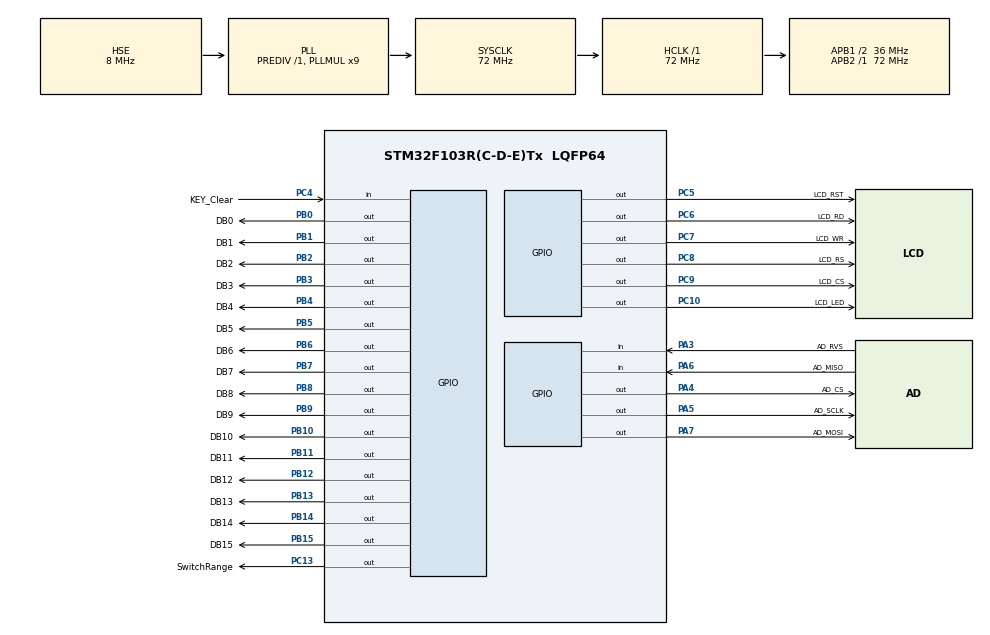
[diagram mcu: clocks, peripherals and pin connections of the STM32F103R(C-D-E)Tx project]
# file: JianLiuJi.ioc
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IWDG.Prescaler=IWDG_PRESCALER_256
Mcu.Family=STM32F1
Mcu.Name=STM32F103R(C-D-E)Tx
Mcu.Package=LQFP64
NVIC.PriorityGroup=NVIC_PRIORITYGROUP_4
PA13.Mode=Serial_Wire
PA13.Signal=SYS_JTMS-SWDIO
PA14.Mode=Serial_Wire
PA14.Signal=SYS_JTCK-SWCLK
PA3.GPIO_Label=AD_RVS
PA3.Signal=GPIO_Input
PA4.GPIO_Label=AD_CS
PA4.Signal=GPIO_Output
PA5.GPIO_Label=AD_SCLK
PA5.Signal=GPIO_Output
PA6.GPIO_Label=AD_MISO
PA6.Signal=GPIO_Input
PA7.GPIO_Label=AD_MOSI
PA7.Signal=GPIO_Output
PB0.GPIO_Label=DB0
PB0.GPIO_Speed=GPIO_SPEED_FREQ_HIGH
PB0.Signal=GPIO_Output
PB1.GPIO_Label=DB1
PB1.GPIO_PuPd=GPIO_NOPULL
PB1.GPIO_Speed=GPIO_SPEED_FREQ_HIGH
PB1.Signal=GPIO_Output
PB10.GPIO_Label=DB10
PB10.GPIO_Speed=GPIO_SPEED_FREQ_HIGH
PB10.Signal=GPIO_Output
PB11.GPIO_Label=DB11
PB11.GPIO_Speed=GPIO_SPEED_FREQ_HIGH
PB11.Signal=GPIO_Output
PB12.GPIO_Label=DB12
PB12.GPIO_Speed=GPIO_SPEED_FREQ_HIGH
PB12.Signal=GPIO_Output
PB13.GPIO_Label=DB13
PB13.GPIO_Speed=GPIO_SPEED_FREQ_HIGH
PB13.Signal=GPIO_Output
PB14.GPIO_Label=DB14
PB14.GPIO_Speed=GPIO_SPEED_FREQ_HIGH
PB14.Signal=GPIO_Output
PB15.GPIO_Label=DB15
PB15.GPIO_Speed=GPIO_SPEED_FREQ_HIGH
PB15.Signal=GPIO_Output
PB2.GPIO_Label=DB2
PB2.GPIO_Speed=GPIO_SPEED_FREQ_HIGH
PB2.Signal=GPIO_Output
PB3.GPIO_Label=DB3
PB3.GPIO_Speed=GPIO_SPEED_FREQ_HIGH
PB3.Signal=GPIO_Output
PB4.GPIO_Label=DB4
PB4.GPIO_Speed=GPIO_SPEED_FREQ_HIGH
PB4.Signal=GPIO_Output
PB5.GPIO_Label=DB5
PB5.GPIO_Speed=GPIO_SPEED_FREQ_HIGH
PB5.Signal=GPIO_Output
PB6.GPIO_Label=DB6
PB6.GPIO_Speed=GPIO_SPEED_FREQ_HIGH
PB6.Signal=GPIO_Output
PB7.GPIO_Label=DB7
PB7.GPIO_Speed=GPIO_SPEED_FREQ_HIGH
PB7.Signal=GPIO_Output
PB8.GPIO_Label=DB8
PB8.GPIO_Speed=GPIO_SPEED_FREQ_HIGH
PB8.Signal=GPIO_Output
PB9.GPIO_Label=DB9
PB9.GPIO_Speed=GPIO_SPEED_FREQ_HIGH
PB9.Signal=GPIO_Output
PC10.GPIO_Label=LCD_LED
PC10.GPIO_Speed=GPIO_SPEED_FREQ_LOW
PC10.Signal=GPIO_Output
PC13-TAMPER-RTC.GPIO_Label=SwitchRange
PC13-TAMPER-RTC.Signal=GPIO_Output
PC4.GPIO_Label=KEY_Clear
PC4.Signal=GPIO_Input
PC5.GPIO_Label=LCD_RST
PC5.GPIO_Speed=GPIO_SPEED_FREQ_LOW
PC5.PinState=GPIO_PIN_RESET
PC5.Signal=GPIO_Output
PC6.GPIO_Label=LCD_RD
PC6.GPIO_Speed=GPIO_SPEED_FREQ_HIGH
PC6.Signal=GPIO_Output
PC7.GPIO_Label=LCD_WR
PC7.GPIO_Speed=GPIO_SPEED_FREQ_HIGH
PC7.Signal=GPIO_Output
PC8.GPIO_Label=LCD_RS
PC8.GPIO_Speed=GPIO_SPEED_FREQ_HIGH
PC8.Signal=GPIO_Output
PC9.GPIO_Label=LCD_CS
PC9.GPIO_Speed=GPIO_SPEED_FREQ_HIGH
PC9.Signal=GPIO_Output
PD0-OSC_IN.Mode=HSE-External-Oscillator
PD0-OSC_IN.Signal=RCC_OSC_IN
PD1-OSC_OUT.Mode=HSE-External-Oscillator
PD1-OSC_OUT.Signal=RCC_OSC_OUT
ProjectManager.HeapSize=0x200
ProjectManager.StackSize=0x400
ProjectManager.TargetToolchain=Other Toolchains (GPDSC)
RCC.AHBFreq_Value=72000000
RCC.APB1CLKDivider=RCC_HCLK_DIV2
RCC.APB1Freq_Value=36000000
RCC.APB1TimFreq_Value=72000000
RCC.APB2Freq_Value=72000000
RCC.APB2TimFreq_Value=72000000
RCC.HCLKFreq_Value=72000000
RCC.PLLMUL=RCC_PLL_MUL9
RCC.PLLSourceVirtual=RCC_PLLSOURCE_HSE
RCC.SYSCLKFreq_VALUE=72000000
RCC.SYSCLKSource=RCC_SYSCLKSOURCE_PLLCLK
RCC.USBFreq_Value=72000000
VP_IWDG_VS_IWDG.Mode=IWDG_Activate
board=custom

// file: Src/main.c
/**
  ******************************************************************************
  * @file           : main.c
  * @brief          : Main program body
  ******************************************************************************
  ** This notice applies to any and all portions of this file
  * that are not between comment pairs USER CODE BEGIN and
  * USER CODE END. Other portions of this file, whether
  * inserted by the user or by software development tools
  * are owned by their respective copyright owners.
  *
  * COPYRIGHT(c) 2018 STMicroelectronics
  *
  * Redistribution and use in source and binary forms, with or without modification,
  * are permitted provided that the following conditions are met:
  *   1. Redistributions of source code must retain the above copyright notice,
  *      this list of conditions and the following disclaimer.
  *   2. Redistributions in binary form must reproduce the above copyright notice,
  *      this list of conditions and the following disclaimer in the documentation
  *      and/or other materials provided with the distribution.
  *   3. Neither the name of STMicroelectronics nor the names of its contributors
  *      may be used to endorse or promote products derived from this software
  *      without specific prior written permission.
  *
  * THIS SOFTWARE IS PROVIDED BY THE COPYRIGHT HOLDERS AND CONTRIBUTORS "AS IS"
  * AND ANY EXPRESS OR IMPLIED WARRANTIES, INCLUDING, BUT NOT LIMITED TO, THE
  * IMPLIED WARRANTIES OF MERCHANTABILITY AND FITNESS FOR A PARTICULAR PURPOSE ARE
  * DISCLAIMED. IN NO EVENT SHALL THE COPYRIGHT HOLDER OR CONTRIBUTORS BE LIABLE
  * FOR ANY DIRECT, INDIRECT, INCIDENTAL, SPECIAL, EXEMPLARY, OR CONSEQUENTIAL
  * DAMAGES (INCLUDING, BUT NOT LIMITED TO, PROCUREMENT OF SUBSTITUTE GOODS OR
  * SERVICES; LOSS OF USE, DATA, OR PROFITS; OR BUSINESS INTERRUPTION) HOWEVER
  * CAUSED AND ON ANY THEORY OF LIABILITY, WHETHER IN CONTRACT, STRICT LIABILITY,
  * OR TORT (INCLUDING NEGLIGENCE OR OTHERWISE) ARISING IN ANY WAY OUT OF THE USE
  * OF THIS SOFTWARE, EVEN IF ADVISED OF THE POSSIBILITY OF SUCH DAMAGE.
  *
  ******************************************************************************
  */
#include "main.h"
#include "stm32f1xx_hal.h"
#include "iwdg.h"
#include "gpio.h"

/* USER CODE BEGIN Includes */
#include "wfSys.h"
#include "..\wf\lcd.h"
#include "..\wf\GUI.h"
#include "..\wf\Variables.h"
#include "ADS8689.h"
#include "..\wf\ADS8689_Conf.h"
#include "wfDefine.h"
#include <math.h>
#include "wfEEPROM.h"
#include "iwdg.h"
/* USER CODE END Includes */

/* USER CODE BEGIN PV */
/* Private variables ---------------------------------------------------------*/

/* USER CODE END PV */

void SystemClock_Config(void);

/* USER CODE BEGIN PFP */
/* Private function prototypes -----------------------------------------------*/

/* USER CODE END PFP */

/* USER CODE BEGIN 0 */
uint32_t bShowNum;
uint32_t adListIndex;
uint32_t adList[1000];
/* USER CODE END 0 */

int main(void)
{
  /* USER CODE BEGIN 1 */
	uint32_t i;
	uint8_t h,m,l,ll;
	uint32_t x,ad;
	float V,I,absX;
  /* USER CODE END 1 */

  /* MCU Configuration----------------------------------------------------------*/

  /* Reset of all peripherals, Initializes the Flash interface and the Systick. */
  HAL_Init();

  /* Configure the system clock */
  SystemClock_Config();

  /* Initialize all configured peripherals */
  MX_GPIO_Init();
  MX_IWDG_Init();
  /* USER CODE BEGIN 2 */
  wfDelay_init(72);
  LCD_Init();
  ADS8689_CS_High();
  ADS8689_Setting(0x10,0x0100);//0.625*4.096
  ADS8689_Setting(0x14,0x0004);//0.625*4.096
  //LCD_SetWindows(0,0,lcddev.width-1,lcddev.height-1);
  Gui_Drawbmp16(0, 0,480,320,gImage_pic);
  bShowNum=0;
  oldI=0xffff;
  adListIndex=0;
  wfEEPROM_ReadWords(0,SystemParam.all,SystemParamLen);
  if(SystemParam.sum!=0)
  {
	  SystemParam.V0=0;
  }
//   Gui_Drawbmp16(192,179,134,34,gImage_TextBox);
//   Gui_Drawbmp16(198,184,16,24,NumPList[0]);
//   Gui_Drawbmp16(198+16,184,16,24,NumList[1]);
//   Gui_Drawbmp16(198+32,184,16,24,NumList[2]);
//   Gui_Drawbmp16(198+48,184,16,24,NumList[3]);
//   Gui_Drawbmp16(198+64,184,16,24,NumList[4]);
  /* USER CODE END 2 */

  /* Infinite loop */
  /* USER CODE BEGIN WHILE */
  while (1)
  {
	  HAL_IWDG_Refresh(&hiwdg);
	  ad=0;
	  for(i=0;i<2048;i++)//250ms
	  {
		  //HAL_Delay(10);
		  while(1)
		  {
			  if(ADS8689_RVS_Read()==1)//rvs拉高后继续
				  break;
		  }
		  ADS8689_CS_Low();
		  while(1)
		  {
			  if(ADS8689_RVS_Read()==0)//rvs拉低后继续
				  break;
		  }
		  //	HAL_GPIO_WritePin(AD_CS_GPIO_Port,GPIO_PIN_2,GPIO_PIN_SET);
		  h=ADS8689_SPIProc(0xff);
		  m=ADS8689_SPIProc(0xff);
		  l=ADS8689_SPIProc(0xff);
		  ll=ADS8689_SPIProc(0xff);
		  ADS8689_CS_High();
		  x=MAKE_SHORT(h,m);
		  x=x<<2;
		  l=l>>6;
		  x=x+l;
		  adList[adListIndex++]=x;
		  if(adListIndex>100)
			  adListIndex=0;
		  ad+=x;

	  }
	  ad=ad>>11;
	  V=ad*5.12;
	  V=V/262144;
   	  V=V-2.56;
	  if(HAL_GPIO_ReadPin(KEY_Clear_GPIO_Port,KEY_Clear_Pin)==GPIO_PIN_RESET)
	  {
		  HAL_Delay(20);
		  if(HAL_GPIO_ReadPin(KEY_Clear_GPIO_Port,KEY_Clear_Pin)==GPIO_PIN_RESET)
		  {
			  SystemParam.V0=V;
			  SystemParam.sum=0;
			  wfEEPROM_WriteWords(wfEEPROM_BASE_ADDR,SystemParam.all,SystemParamLen);
		  }
	  }
	  V=V-SystemParam.V0;
	  if(HAL_GPIO_ReadPin(SwitchRange_GPIO_Port,SwitchRange_Pin)==GPIO_PIN_SET)//小量程
	  {
		  I=V/20000;
	  }
	  else//大量程
	  {
		   I=V/1000;
	  }
	  I=I*1000000;
	  if(bShowNum==0)//没显示数码管
	  {
		  if(I<0)
			  absX=-I;
		  else
			  absX=I;
		  if(absX>2.4)//转换为数码管显示
		  {
			  if(I>0)
			  {
				  GUI_ShowGraphicsI(2.5);
			  }
			  else
			  {
				  GUI_ShowGraphicsI(-2.5);
			  }
			  bShowNum=1;
			  Gui_Drawbmp16(178,180,165,43,gImage_TextBox);
			  GUI_ShowNumI(I);
		  }
		  else
		  {
			  GUI_ShowGraphicsI(I);
		  }
	  }
	  else//当前为显示数码管状态
	  {
		  if(I<0)
			  absX=-I;
		  else
			  absX=I;
		  if(absX<2)//转换为仪表显示方式
		  {
			  bShowNum=0;
			  LCD_Fill(178,180,178+165,180+43,COLOR_BLACK);
			  GUI_ShowGraphicsI(I);
		  }
		  else
		  {
			  if(absX<2500)
			  {
				  GUI_ShowNumI(I);
			  }
			  else
			  {
				  //LCD_Fill(184,185,184+115,185+33,COLOR_BLACK);
				  Gui_Drawbmp16(184,185,115,33,gImage_OverRange);
			  }
		  }
	  }
	  if(HAL_GPIO_ReadPin(SwitchRange_GPIO_Port,SwitchRange_Pin)==GPIO_PIN_SET)//小量程
	  {
		  if(V<0)
			  absX=-V;
		  else
			  absX=V;
		  if(absX>2.5)//切换到大量程
		  {
			  HAL_GPIO_WritePin(SwitchRange_GPIO_Port,SwitchRange_Pin,GPIO_PIN_RESET);
		  }
	  }
	  else//大量程
	  {
		  if(V<0)
			  absX=-V;
		  else
			  absX=V;
		  if(absX<0.12)//切换回小量程
		  {
			  HAL_GPIO_WritePin(SwitchRange_GPIO_Port,SwitchRange_Pin,GPIO_PIN_SET);
		  }
	  }
// 	  for(i=0;i<500;i++)
// 	  {
// 		  LCD_DrawLine_GoBack(oldLine[0],oldLine[1],oldLine[2],oldLine[3]);
// 		  GUI_ShowI(i*0.01-2.5);
// 		  wfDelay_ms(500);
// 	  }
// 	  for(i=0;i<51;i++)
// 	  {
// 		  //Gui_Drawbmp16(0, 0,480,160,gImage_pic);
// 		  //LCD_Fill(0,160,480,320,COLOR_BLACK);
// 		  //POINT_COLOR=COLOR_BLACK;
// 		  //LCD_DrawLine_GoBack(oldLine[0],oldLine[1],oldLine[2],oldLine[3]);
// 		  POINT_COLOR=COLOR_RED;
// 		  LCD_DrawLine(ScalePoint[i][0],ScalePoint[i][1],ScalePoint[i][2],ScalePoint[i][3]);
// 		  wfDelay_ms(500);
// 	  }
//
//
// 	  for(i=0;i<25;i++)
// 	  {
// 		  //Gui_Drawbmp16(0, 0,480,160,gImage_pic);
// 		  //LCD_Fill(0,160,480,320,COLOR_BLACK);
// 		  //POINT_COLOR=COLOR_BLACK;
// 		  LCD_DrawLine_GoBack(x1,y1,x2,y2);
// 		  POINT_COLOR=COLOR_RED;
// 		  LCD_DrawLine(NX1[i],NY1[i],NX2[i],NY2[i]);
// 		  x1=NX1[i];
// 		  y1=NY1[i];
// 		  x2=NX2[i];
// 		  y2=NY2[i];
// 		  wfDelay_ms(500);
// 	  }
// 	  LCD_DrawLine_GoBack(x1,y1,x2,y2);
// 	  POINT_COLOR=COLOR_RED;
// 	  LCD_DrawLine(240,311,240,55);
// 	  x1=240,y1=311,x2=240;y2=55;
// 	  wfDelay_ms(500);
// 	  for(i=0;i<25;i++)
// 	  {
// 		  //Gui_Drawbmp16(0, 0,480,160,gImage_pic);
// 		  //LCD_Fill(0,160,480,320,COLOR_BLACK);
// 		  //POINT_COLOR=COLOR_BLACK;
// 		  LCD_DrawLine_GoBack(x1,y1,x2,y2);
// 		  POINT_COLOR=COLOR_RED;
// 		  LCD_DrawLine(PX1[i],PY1[i],PX2[i],PY2[i]);
// 		  x1=PX1[i];
// 		  y1=PY1[i];
// 		  x2=PX2[i];
// 		  y2=PY2[i];
// 		  wfDelay_ms(500);
// 	  }
  /* USER CODE END WHILE */

  }

}

void SystemClock_Config(void)
{

  RCC_OscInitTypeDef RCC_OscInitStruct;
  RCC_ClkInitTypeDef RCC_ClkInitStruct;

    /**Initializes the CPU, AHB and APB busses clocks
    */
  RCC_OscInitStruct.OscillatorType = RCC_OSCILLATORTYPE_LSI|RCC_OSCILLATORTYPE_HSE;
  RCC_OscInitStruct.HSEState = RCC_HSE_ON;
  RCC_OscInitStruct.HSEPredivValue = RCC_HSE_PREDIV_DIV1;
  RCC_OscInitStruct.HSIState = RCC_HSI_ON;
  RCC_OscInitStruct.LSIState = RCC_LSI_ON;
  RCC_OscInitStruct.PLL.PLLState = RCC_PLL_ON;
  RCC_OscInitStruct.PLL.PLLSource = RCC_PLLSOURCE_HSE;
  RCC_OscInitStruct.PLL.PLLMUL = RCC_PLL_MUL9;
  if (HAL_RCC_OscConfig(&RCC_OscInitStruct) != HAL_OK)
  {
    _Error_Handler(__FILE__, __LINE__);
  }

    /**Initializes the CPU, AHB and APB busses clocks
    */
  RCC_ClkInitStruct.ClockType = RCC_CLOCKTYPE_HCLK|RCC_CLOCKTYPE_SYSCLK
                              |RCC_CLOCKTYPE_PCLK1|RCC_CLOCKTYPE_PCLK2;
  RCC_ClkInitStruct.SYSCLKSource = RCC_SYSCLKSOURCE_PLLCLK;
  RCC_ClkInitStruct.AHBCLKDivider = RCC_SYSCLK_DIV1;
  RCC_ClkInitStruct.APB1CLKDivider = RCC_HCLK_DIV2;
  RCC_ClkInitStruct.APB2CLKDivider = RCC_HCLK_DIV1;

  if (HAL_RCC_ClockConfig(&RCC_ClkInitStruct, FLASH_LATENCY_2) != HAL_OK)
  {
    _Error_Handler(__FILE__, __LINE__);
  }

    /**Configure the Systick interrupt time
    */
  HAL_SYSTICK_Config(HAL_RCC_GetHCLKFreq()/1000);

    /**Configure the Systick
    */
  HAL_SYSTICK_CLKSourceConfig(SYSTICK_CLKSOURCE_HCLK);

  /* SysTick_IRQn interrupt configuration */
  HAL_NVIC_SetPriority(SysTick_IRQn, 0, 0);
}

void _Error_Handler(char *file, int line)
{
  while(1)
  {
  }
}

/************************ (C) COPYRIGHT STMicroelectronics *****END OF FILE****/
